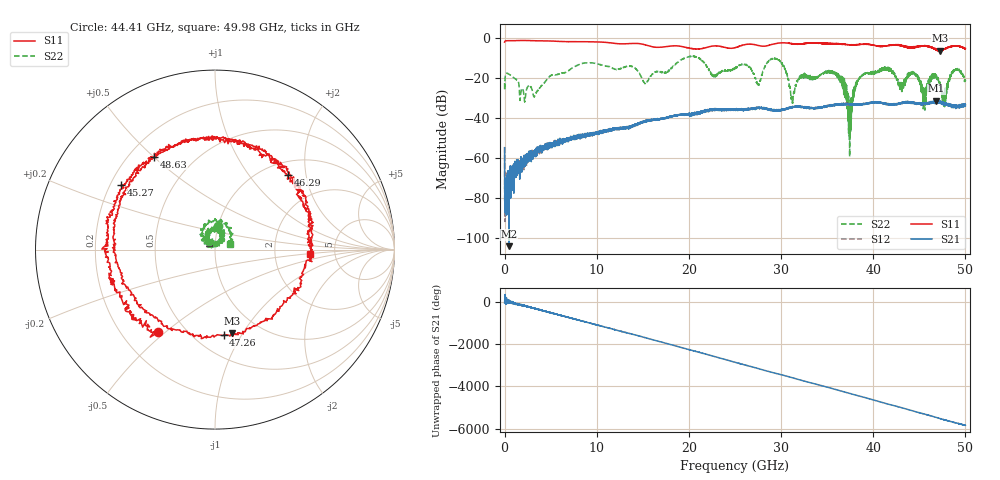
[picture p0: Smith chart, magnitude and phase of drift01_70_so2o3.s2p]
!Created with skrf (http://scikit-rf.org).
# Hz S RI R 50.0
!freq ReS11 ImS11 ReS21 ImS21 ReS12 ImS12 ReS22 ImS22
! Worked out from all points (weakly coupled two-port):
!   10001 points, 300 kHz to 50 GHz, reference 50 ohm
!   highest |S21| = -31.40 dB at 46.85 GHz (marker M1); lowest = -104.0 dB at 455.3 MHz (marker M2)
!   lowest |S11| = -6.5 dB at 47.24 GHz (marker M3), VSWR 2.80, Z = 37.4 - j44.7 ohm
!   |S11| at or under -10 dB: nowhere
!   |S22| runs from -59.4 to -9.2 dB; largest |S21 - S12| = 0.0038
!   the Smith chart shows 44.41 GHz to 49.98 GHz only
!   S11 on the Smith chart (normalised r, x): 44.41 GHz: 0.35, -0.47; 45.27 GHz: 0.24, +0.29; 46.29 GHz: 1.26, +1.59; 47.26 GHz: 0.68, -0.84; 48.63 GHz: 0.30, +0.50; 49.98 GHz: 3.25, -0.23
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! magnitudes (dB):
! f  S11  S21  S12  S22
! 300 kHz  -2.1  -55.1  -54.5  -22.7
! 455.3 MHz  -1.4  -104.0  -70.2  -18.1
! 3.29 GHz  -1.5  -56.6  -57.7  -28.8
! 8.335 GHz  -1.9  -49.5  -48.9  -12.9
! 16.67 GHz  -4.8  -40.7  -40.8  -16.7
! 25 GHz  -5.0  -36.0  -35.9  -15.4
! 29.58 GHz  -2.8  -35.9  -36.5  -10.7
! 31.23 GHz  -3.0  -34.8  -34.7  -32.3
! 33.34 GHz  -2.6  -34.9  -35.1  -19.9
! 36.08 GHz  -3.1  -33.3  -33.2  -18.3
! 37.49 GHz  -3.5  -33.5  -33.2  -38.9
! 38.66 GHz  -3.3  -33.2  -33.1  -19.3
! 41.67 GHz  -3.8  -33.2  -33.0  -15.6
! 44.41 GHz  -5.0  -32.3  -32.7  -17.6
! 45.27 GHz  -3.9  -32.9  -33.1  -24.2
! 46.29 GHz  -4.7  -32.4  -32.3  -20.3
! 46.85 GHz  -5.9  -31.4  -32.1  -19.1
! 47.24 GHz  -6.5  -31.8  -31.8  -22.7
! 47.26 GHz  -6.4  -32.3  -32.3  -23.3
! 48.63 GHz  -4.2  -34.4  -34.2  -16.8
! 49.98 GHz  -5.5  -33.0  -33.4  -21.0
! 50 GHz  -5.4  -33.9  -33.2  -21.0
